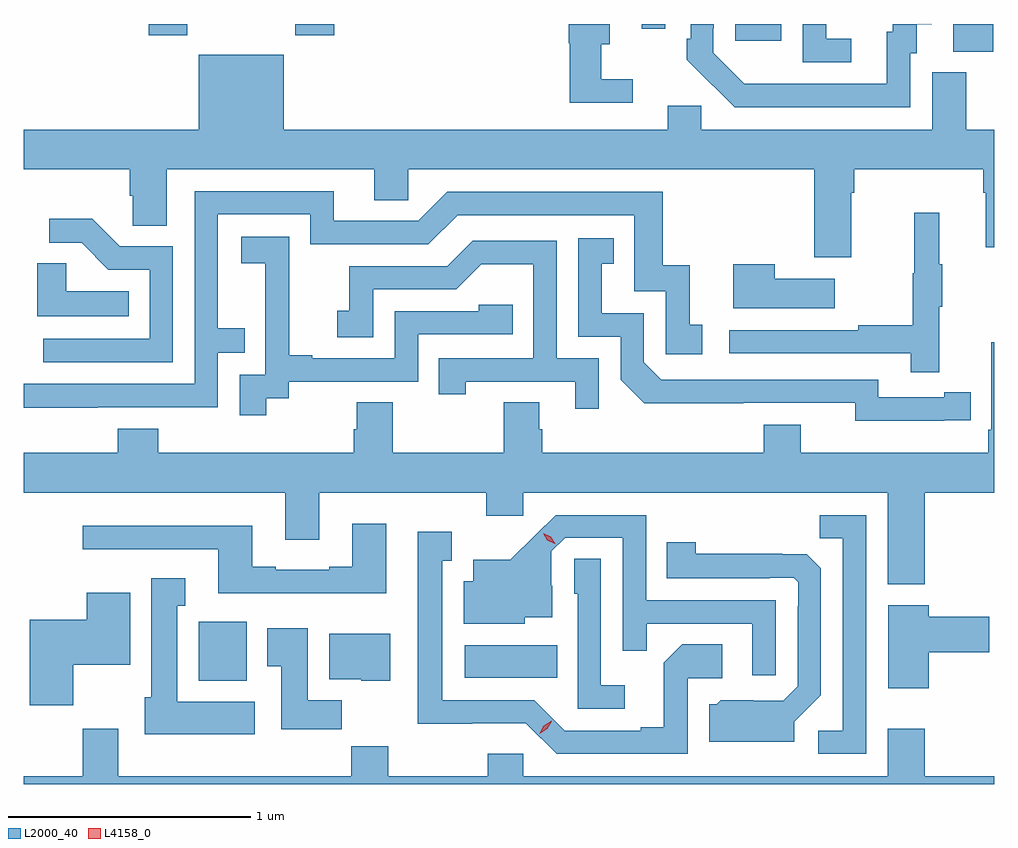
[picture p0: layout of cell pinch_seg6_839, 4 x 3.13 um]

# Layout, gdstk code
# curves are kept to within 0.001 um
import gdstk
lib = gdstk.Library(unit=1e-6, precision=1e-09)
def R(c, l, rs):  # rectangles x0, y0, x1, y1
    for r in rs: c.add(gdstk.rectangle(r[:2], r[2:], *l))
def P(c, l, *ps):  # polygons
    for p in ps: c.add(gdstk.Polygon(p, *l))
L2000_40 = (2000, 40)
L4158_0 = (4158, 0)

pinch_seg6_839 = lib.new_cell('pinch_seg6_839')
R(pinch_seg6_839, L2000_40, [(154.04,915.926,154.237,916.168), (155.136,915.938,155.516,916.072), (157.148,918.517,157.312,918.631), (156.251,918.561,156.439,918.631), (153.833,918.585,153.993,918.631), (154.438,918.585,154.598,918.631), (155.865,918.612,155.961,918.631)])
P(pinch_seg6_839, L2000_40, [(156.727,918.57),(156.624,918.57),(156.624,918.631),(156.528,918.631),(156.528,918.474),(156.727,918.474)],
  [(156.972,918.51),(156.997,918.51),(156.997,918.629),(157.06,918.629),(157.06,918.631),(156.899,918.631),(156.899,918.6),(156.875,918.6),(156.875,918.384),(156.288,918.385),(156.159,918.513),(156.159,918.613),(156.162,918.613),(156.162,918.631),(156.066,918.631),(156.066,918.571),(156.051,918.571),(156.051,918.483),(156.248,918.288),(156.972,918.288)],
  [(155.827,918.403),(155.698,918.403),(155.698,918.548),(155.734,918.548),(155.734,918.631),(155.564,918.631),(155.564,918.552),(155.569,918.552),(155.569,918.306),(155.827,918.306)],
  [(156.727,917.936),(156.74,917.936),(156.74,918.032),(157.271,918.032),(157.271,917.936),(157.283,917.936),(157.283,917.712),(157.318,917.712),(157.318,918.196),(157.201,918.196),(157.201,918.432),(157.061,918.432),(157.061,918.196),(156.111,918.196),(156.111,918.294),(155.972,918.294),(155.972,918.196),(154.39,918.196),(154.39,918.505),(154.04,918.505),(154.04,918.196),(153.318,918.196),(153.318,918.032),(153.755,918.032),(153.755,917.923),(153.768,917.923),(153.768,917.8),(153.907,917.8),(153.907,918.032),(154.763,918.032),(154.763,917.905),(154.902,917.905),(154.902,918.032),(156.575,918.032),(156.575,917.67),(156.727,917.67)],
  [(153.623,917.052),(154.119,917.052),(154.119,917.277),(154.229,917.277),(154.229,917.378),(154.119,917.378),(154.119,917.847),(154.5,917.847),(154.5,917.724),(154.986,917.724),(155.106,917.844),(155.835,917.844),(155.835,917.529),(155.964,917.529),(155.964,917.271),(156.115,917.271),(156.115,917.391),(156.062,917.391),(156.062,917.638),(155.951,917.638),(155.951,917.94),(155.064,917.94),(154.944,917.82),(154.597,917.82),(154.597,917.943),(154.023,917.943),(154.023,917.148),(153.318,917.148),(153.318,917.051)],
  [(157.091,917.467),(157.102,917.467),(157.102,917.641),(157.091,917.641),(157.091,917.854),(156.988,917.854),(156.988,917.604),(156.981,917.604),(156.981,917.39),(156.757,917.39),(156.757,917.37),(156.225,917.37),(156.225,917.274),(156.973,917.274),(156.973,917.196),(157.091,917.196)],
  [(153.933,917.715),(153.714,917.715),(153.601,917.828),(153.423,917.828),(153.423,917.73),(153.557,917.73),(153.668,917.619),(153.837,917.619),(153.837,917.334),(153.399,917.334),(153.399,917.238),(153.933,917.238)],
  [(154.318,917.089),(154.41,917.089),(154.41,917.157),(154.944,917.157),(154.944,917.352),(155.333,917.352),(155.333,917.475),(155.193,917.475),(155.193,917.448),(154.848,917.448),(154.848,917.253),(154.507,917.253),(154.507,917.266),(154.412,917.266),(154.412,917.549),(154.413,917.549),(154.413,917.755),(154.215,917.755),(154.215,917.645),(154.313,917.645),(154.313,917.417),(154.314,917.417),(154.314,917.187),(154.209,917.187),(154.209,917.019),(154.318,917.019)],
  [(157.112,916.998),(157.22,916.998),(157.22,917.114),(157.112,917.114),(157.112,917.094),(156.84,917.094),(156.84,917.166),(155.946,917.166),(155.874,917.238),(155.874,917.439),(155.701,917.439),(155.701,917.643),(155.75,917.643),(155.75,917.749),(155.604,917.749),(155.604,917.343),(155.778,917.343),(155.778,917.166),(155.876,917.069),(156.744,917.07),(156.744,916.997)],
  [(155.688,917.253),(155.514,917.253),(155.514,917.739),(155.168,917.739),(155.063,917.634),(154.66,917.634),(154.66,917.449),(154.611,917.449),(154.611,917.34),(154.758,917.34),(154.758,917.538),(155.1,917.538),(155.204,917.642),(155.418,917.642),(155.418,917.253),(155.029,917.253),(155.029,917.106),(155.14,917.106),(155.14,917.157),(155.591,917.157),(155.591,917.046),(155.688,917.046)],
  [(153.752,917.53),(153.495,917.53),(153.495,917.645),(153.374,917.645),(153.374,917.426),(153.752,917.426)],
  [(156.661,917.581),(156.413,917.581),(156.413,917.641),(156.242,917.641),(156.242,917.459),(156.661,917.459)],
  [(157.031,916.7),(157.318,916.7),(157.318,917.32),(157.305,917.32),(157.305,916.96),(157.292,916.96),(157.292,916.864),(156.52,916.864),(156.52,916.981),(156.368,916.981),(156.368,916.864),(155.456,916.864),(155.456,916.962),(155.443,916.962),(155.443,917.072),(155.296,917.072),(155.296,916.864),(154.839,916.864),(154.839,917.072),(154.691,917.072),(154.691,916.962),(154.679,916.962),(154.679,916.864),(153.872,916.864),(153.872,916.963),(153.707,916.963),(153.707,916.864),(153.318,916.864),(153.318,916.7),(154.397,916.7),(154.397,916.506),(154.537,916.506),(154.537,916.7),(155.225,916.7),(155.225,916.605),(155.376,916.605),(155.376,916.7),(156.878,916.7),(156.878,916.322),(157.031,916.322)],
  [(156.417,916.257),(155.883,916.257),(155.883,916.608),(155.51,916.608),(155.323,916.423),(155.171,916.423),(155.171,916.336),(155.132,916.336),(155.132,916.16),(155.382,916.16),(155.382,916.187),(155.497,916.187),(155.497,916.316),(155.493,916.316),(155.493,916.458),(155.55,916.515),(155.787,916.515),(155.787,916.048),(155.885,916.048),(155.885,916.161),(156.321,916.161),(156.321,915.948),(156.417,915.948)],
  [(156.789,916.608),(156.598,916.608),(156.598,916.513),(156.693,916.513),(156.693,915.72),(156.591,915.72),(156.591,915.624),(156.789,915.624)],
  [(154.813,916.573),(154.673,916.573),(154.673,916.396),(154.577,916.396),(154.577,916.383),(154.357,916.383),(154.357,916.396),(154.261,916.396),(154.261,916.564),(153.561,916.564),(153.561,916.467),(154.121,916.467),(154.121,916.286),(154.813,916.286)],
  [(156.054,915.936),(156.196,915.936),(156.196,916.076),(156.031,916.076),(155.955,916),(155.955,915.733),(155.861,915.733),(155.861,915.72),(155.547,915.72),(155.421,915.846),(155.044,915.846),(155.044,916.419),(155.083,916.419),(155.083,916.54),(154.943,916.54),(154.943,915.749),(155.388,915.75),(155.514,915.624),(156.054,915.624)],
  [(156.493,915.756),(156.603,915.866),(156.603,916.388),(156.544,916.447),(156.087,916.448),(156.087,916.495),(155.968,916.495),(155.968,916.347),(156.392,916.347),(156.392,916.35),(156.492,916.35),(156.51,916.332),(156.51,916.232),(156.507,916.232),(156.507,915.903),(156.447,915.843),(156.19,915.844),(156.174,915.828),(156.143,915.828),(156.143,915.674),(156.493,915.674)],
  [(155.794,915.907),(155.697,915.907),(155.697,916.427),(155.586,916.427),(155.586,916.284),(155.601,916.284),(155.601,915.81),(155.794,915.81)],
  [(154.27,915.838),(153.952,915.838),(153.952,916.235),(153.985,916.235),(153.985,916.348),(153.845,916.348),(153.845,915.858),(153.818,915.858),(153.818,915.704),(154.27,915.704)],
  [(153.522,915.992),(153.757,915.992),(153.757,916.288),(153.578,916.288),(153.578,916.177),(153.344,916.177),(153.344,915.825),(153.522,915.825)],
  [(157.048,916.043),(157.297,916.043),(157.297,916.19),(157.048,916.19),(157.048,916.237),(156.881,916.237),(156.881,915.894),(157.048,915.894)],
  [(154.628,915.844),(154.489,915.844),(154.489,916.141),(154.322,916.141),(154.322,915.985),(154.379,915.985),(154.379,915.726),(154.628,915.726)],
  [(154.828,916.12),(154.577,916.12),(154.577,915.932),(154.71,915.932),(154.71,915.926),(154.828,915.926)],
  [(157.318,915.532),(157.031,915.532),(157.031,915.727),(156.878,915.727),(156.878,915.532),(155.376,915.532),(155.376,915.625),(155.23,915.625),(155.23,915.532),(154.821,915.532),(154.821,915.656),(154.669,915.656),(154.669,915.532),(153.709,915.532),(153.709,915.727),(153.562,915.727),(153.562,915.532),(153.318,915.532),(153.318,915.5),(157.318,915.5)])
P(pinch_seg6_839, L4158_0, [(155.507,916.489),(155.476,916.504),(155.459,916.533),(155.459,916.533),(155.459,916.533),(155.49,916.518),(155.508,916.489),(155.508,916.489)],
  [(155.444,915.708),(155.444,915.709),(155.462,915.741),(155.494,915.76),(155.494,915.76),(155.494,915.759),(155.476,915.727),(155.444,915.708)])

lib.write_gds('pinch_seg6_839.gds')
